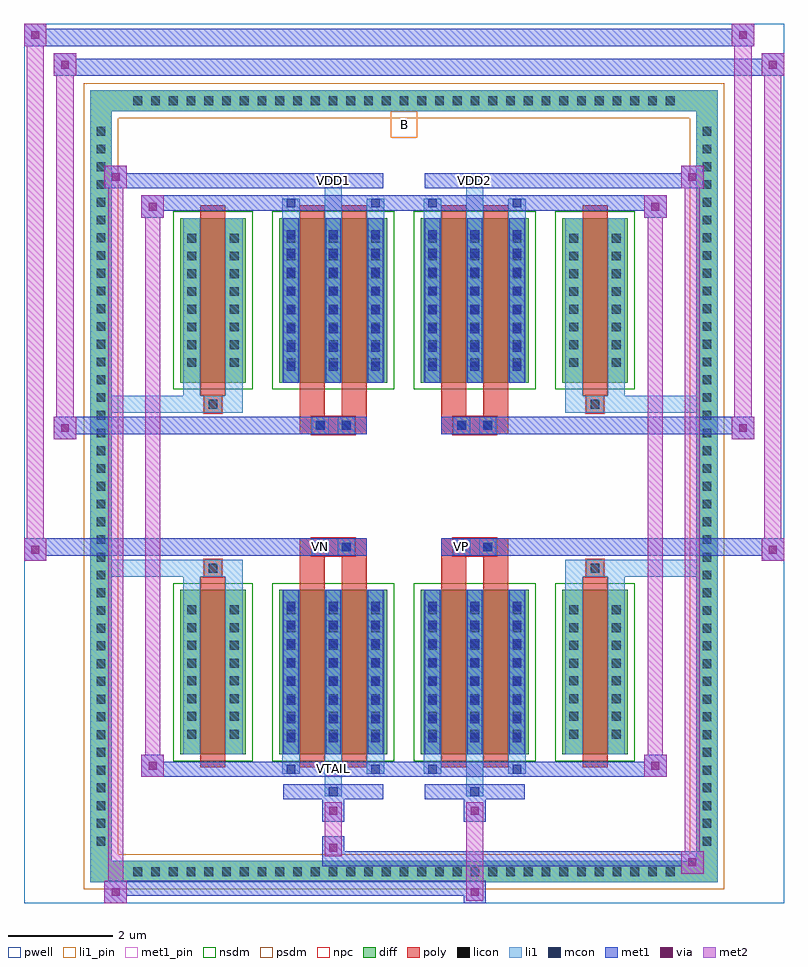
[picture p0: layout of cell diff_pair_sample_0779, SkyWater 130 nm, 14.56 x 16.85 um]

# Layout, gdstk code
import gdstk
lib = gdstk.Library(unit=1e-6, precision=5e-09)
def R(c, l, rs):  # rectangles x0, y0, x1, y1
    for r in rs: c.add(gdstk.rectangle(r[:2], r[2:], *l))
def A(c, l, x, y, w, h, nx, ny, dx, dy):  # array of equal rectangles
    R(c, l, [(x+i*dx, y+j*dy, x+i*dx+w, y+j*dy+h) for i in range(nx) for j in range(ny)])
def P(c, l, *ps):  # polygons
    for p in ps: c.add(gdstk.Polygon(p, *l))
pwell = (64, 44)
diff = (65, 20)
poly = (66, 20)
licon = (66, 44)
li1_pin = (67, 16)
li1 = (67, 20)
mcon = (67, 44)
met1_pin = (68, 16)
met1 = (68, 20)
via = (68, 44)
met2 = (69, 20)
nsdm = (93, 44)
psdm = (94, 20)
npc = (95, 20)

diff_pair_sample_0779 = lib.new_cell('diff_pair_sample_0779')
R(diff_pair_sample_0779, pwell, [(-7.28,-7.99,7.28,8.86), (-4.6,-6.18,-0.01,-0.8), (0.01,-6.18,4.6,-0.8), (-4.6,0.8,-0.01,6.18), (0.01,0.8,4.6,6.18)])
A(diff_pair_sample_0779, diff, -5.305, -7.59, 0.41, 0.41, 31, 2, 0.34, 14.77)
A(diff_pair_sample_0779, diff, -6.01, -7.005, 0.41, 0.41, 1, 41, 0, 0.34)
A(diff_pair_sample_0779, diff, 5.6, -7.005, 0.41, 0.41, 1, 41, 0, 0.34)
R(diff_pair_sample_0779, diff, [(-5.305,-7.59,5.305,-7.18), (-6.01,-7.005,-5.6,7.005), (5.6,-7.005,6.01,7.005), (-4.29,-5.135,-3.03,-1.985), (-2.39,-5.135,-0.32,-1.985), (0.32,-5.135,2.39,-1.985), (3.03,-5.135,4.29,-1.985), (-4.29,1.985,-3.03,5.135), (-2.39,1.985,-0.32,5.135), (0.32,1.985,2.39,5.135), (3.03,1.985,4.29,5.135), (-5.305,7.18,5.305,7.59)])
P(diff_pair_sample_0779, diff, [(6.01,7.59),(-6.01,7.59),(-6.01,-7.18),(-5.6,-7.18),(-5.6,7.18),(5.6,7.18),(5.6,-7.18),(-5.6,-7.18),(-6.01,-7.18),(-6.01,-7.59),(6.01,-7.59)])
R(diff_pair_sample_0779, poly, [(-3.9,-5.385,-3.42,-1.735), (-2,-5.385,-1.52,-1.735), (-1.19,-5.385,-0.71,-1.735), (0.71,-5.385,1.19,-1.735), (1.52,-5.385,2,-1.735), (3.42,-5.385,3.9,-1.735), (-3.825,-1.735,-3.495,-1.405), (-3.825,-1.735,-3.495,-1.405), (-2,-1.735,-1.52,-1.33), (-1.19,-1.735,-0.71,-1.33), (0.71,-1.735,1.19,-1.33), (1.52,-1.735,2,-1.33), (3.495,-1.735,3.825,-1.405), (3.495,-1.735,3.825,-1.405), (-2,-1.33,-0.71,-1), (-1.77,-1.33,-1.44,-1), (-1.27,-1.33,-0.94,-1), (0.71,-1.33,2,-1), (0.94,-1.33,1.27,-1), (1.44,-1.33,1.77,-1), (-2,1,-0.71,1.33), (-1.77,1,-1.44,1.33), (-1.27,1,-0.94,1.33), (0.71,1,2,1.33), (0.94,1,1.27,1.33), (1.44,1,1.77,1.33), (-2,1.33,-1.52,1.735), (-1.19,1.33,-0.71,1.735), (0.71,1.33,1.19,1.735), (1.52,1.33,2,1.735), (-3.825,1.405,-3.495,1.735), (-3.825,1.405,-3.495,1.735), (3.495,1.405,3.825,1.735), (3.495,1.405,3.825,1.735), (-3.9,1.735,-3.42,5.385), (-2,1.735,-1.52,5.385), (-1.19,1.735,-0.71,5.385), (0.71,1.735,1.19,5.385), (1.52,1.735,2,5.385), (3.42,1.735,3.9,5.385)])
A(diff_pair_sample_0779, licon, -5.185, -7.47, 0.17, 0.17, 31, 2, 0.34, 14.77)
A(diff_pair_sample_0779, licon, -5.89, -6.885, 0.17, 0.17, 1, 41, 0, 0.34)
A(diff_pair_sample_0779, licon, 5.72, -6.885, 0.17, 0.17, 1, 41, 0, 0.34)
A(diff_pair_sample_0779, licon, -4.15, -4.835, 0.17, 0.17, 1, 8, 0, 0.34)
A(diff_pair_sample_0779, licon, -3.34, -4.835, 0.17, 0.17, 1, 8, 0, 0.34)
A(diff_pair_sample_0779, licon, -2.25, -4.835, 0.17, 0.17, 3, 8, 0.81, 0.34)
A(diff_pair_sample_0779, licon, 0.46, -4.835, 0.17, 0.17, 3, 8, 0.81, 0.34)
A(diff_pair_sample_0779, licon, 3.17, -4.835, 0.17, 0.17, 1, 8, 0, 0.34)
A(diff_pair_sample_0779, licon, 3.98, -4.835, 0.17, 0.17, 1, 8, 0, 0.34)
A(diff_pair_sample_0779, licon, -4.15, 2.285, 0.17, 0.17, 1, 8, 0, 0.34)
A(diff_pair_sample_0779, licon, -3.34, 2.285, 0.17, 0.17, 1, 8, 0, 0.34)
A(diff_pair_sample_0779, licon, -2.25, 2.285, 0.17, 0.17, 3, 8, 0.81, 0.34)
A(diff_pair_sample_0779, licon, 0.46, 2.285, 0.17, 0.17, 3, 8, 0.81, 0.34)
A(diff_pair_sample_0779, licon, 3.17, 2.285, 0.17, 0.17, 1, 8, 0, 0.34)
A(diff_pair_sample_0779, licon, 3.98, 2.285, 0.17, 0.17, 1, 8, 0, 0.34)
R(diff_pair_sample_0779, licon, [(-3.745,-1.655,-3.575,-1.485), (3.575,-1.655,3.745,-1.485), (-1.69,-1.25,-1.52,-1.08), (-1.19,-1.25,-1.02,-1.08), (1.02,-1.25,1.19,-1.08), (1.52,-1.25,1.69,-1.08), (-1.69,1.08,-1.52,1.25), (-1.19,1.08,-1.02,1.25), (1.02,1.08,1.19,1.25), (1.52,1.08,1.69,1.25), (-3.745,1.485,-3.575,1.655), (3.575,1.485,3.745,1.655)])
R(diff_pair_sample_0779, li1_pin, [(-0.25,6.68,0.25,7.18)])
A(diff_pair_sample_0779, li1, -5.265, -7.55, 0.33, 0.33, 31, 2, 0.34, 14.77)
A(diff_pair_sample_0779, li1, -5.97, -6.965, 0.33, 0.33, 1, 41, 0, 0.34)
A(diff_pair_sample_0779, li1, 5.64, -6.965, 0.33, 0.33, 1, 41, 0, 0.34)
A(diff_pair_sample_0779, li1, -2.33, -5.135, 0.33, 3.15, 3, 2, 0.81, 7.12)
A(diff_pair_sample_0779, li1, 0.38, -5.135, 0.33, 3.15, 3, 2, 0.81, 7.12)
A(diff_pair_sample_0779, li1, -4.23, -4.915, 0.33, 0.33, 1, 8, 0, 0.34)
A(diff_pair_sample_0779, li1, -3.42, -4.915, 0.33, 0.33, 1, 8, 0, 0.34)
A(diff_pair_sample_0779, li1, -2.33, -4.915, 0.33, 0.33, 3, 8, 0.81, 0.34)
A(diff_pair_sample_0779, li1, 0.38, -4.915, 0.33, 0.33, 3, 8, 0.81, 0.34)
A(diff_pair_sample_0779, li1, 3.09, -4.915, 0.33, 0.33, 1, 8, 0, 0.34)
A(diff_pair_sample_0779, li1, 3.9, -4.915, 0.33, 0.33, 1, 8, 0, 0.34)
A(diff_pair_sample_0779, li1, -2.25, -4.905, 0.17, 0.17, 3, 8, 0.81, 0.36)
A(diff_pair_sample_0779, li1, -2.25, -4.905, 0.17, 2.69, 3, 2, 0.81, 7.12)
A(diff_pair_sample_0779, li1, 0.46, -4.905, 0.17, 0.17, 3, 8, 0.81, 0.36)
A(diff_pair_sample_0779, li1, 0.46, -4.905, 0.17, 2.69, 3, 2, 0.81, 7.12)
A(diff_pair_sample_0779, li1, -4.23, 2.205, 0.33, 0.33, 1, 8, 0, 0.34)
A(diff_pair_sample_0779, li1, -3.42, 2.205, 0.33, 0.33, 1, 8, 0, 0.34)
A(diff_pair_sample_0779, li1, -2.33, 2.205, 0.33, 0.33, 3, 8, 0.81, 0.34)
A(diff_pair_sample_0779, li1, 0.38, 2.205, 0.33, 0.33, 3, 8, 0.81, 0.34)
A(diff_pair_sample_0779, li1, 3.09, 2.205, 0.33, 0.33, 1, 8, 0, 0.34)
A(diff_pair_sample_0779, li1, 3.9, 2.205, 0.33, 0.33, 1, 8, 0, 0.34)
A(diff_pair_sample_0779, li1, -2.25, 2.215, 0.17, 0.17, 3, 8, 0.81, 0.36)
A(diff_pair_sample_0779, li1, 0.46, 2.215, 0.17, 0.17, 3, 8, 0.81, 0.36)
R(diff_pair_sample_0779, li1, [(-6.01,-7.59,-5.6,-7.18), (-6.01,-7.59,-5.6,-7.18), (-5.6,-7.59,5.6,-7.18), (5.6,-7.59,6.01,-7.18), (5.6,-7.59,6.01,-7.18), (-6.01,-7.18,-5.6,7.18), (5.6,-7.18,6.01,7.18), (-1.52,-5.94,-1.19,-5.135), (-1.44,-5.94,-1.27,-5.77), (1.19,-5.94,1.52,-5.135), (1.27,-5.94,1.44,-5.77), (-2.33,-5.51,-2,-5.135), (-2.25,-5.51,-2.08,-5.34), (-0.71,-5.51,-0.38,-5.135), (-0.63,-5.51,-0.46,-5.34), (0.38,-5.51,0.71,-5.135), (0.46,-5.51,0.63,-5.34), (2,-5.51,2.33,-5.135), (2.08,-5.51,2.25,-5.34), (-4.23,-5.135,-3.9,-1.985), (-3.42,-5.135,-3.09,-1.985), (3.09,-5.135,3.42,-1.985), (3.9,-5.135,4.23,-1.985), (-4.23,-1.985,-3.9,-1.405), (-3.42,-1.985,-3.09,-1.405), (3.09,-1.985,3.42,-1.405), (3.9,-1.985,4.23,-1.405), (-6.01,-1.735,-3.825,-1.405), (-4.23,-1.735,-3.825,-1.405), (-3.825,-1.735,-3.495,-1.405), (-3.495,-1.735,-3.09,-1.405), (3.09,-1.735,3.495,-1.405), (3.495,-1.735,3.825,-1.405), (3.495,-1.735,6.01,-1.405), (3.825,-1.735,4.23,-1.405), (-1.77,-1.33,-1.44,-1), (-1.27,-1.33,-0.94,-1), (0.94,-1.33,1.27,-1), (1.44,-1.33,1.77,-1), (-1.77,1,-1.44,1.33), (-1.27,1,-0.94,1.33), (0.94,1,1.27,1.33), (1.44,1,1.77,1.33), (-6.01,1.405,-3.825,1.735), (-4.23,1.405,-3.825,1.735), (-4.23,1.405,-3.9,1.985), (-3.825,1.405,-3.495,1.735), (-3.495,1.405,-3.09,1.735), (-3.42,1.405,-3.09,1.985), (3.09,1.405,3.495,1.735), (3.09,1.405,3.42,1.985), (3.495,1.405,3.825,1.735), (3.495,1.405,6.01,1.735), (3.825,1.405,4.23,1.735), (3.9,1.405,4.23,1.985), (-4.23,1.985,-3.9,5.135), (-3.42,1.985,-3.09,5.135), (3.09,1.985,3.42,5.135), (3.9,1.985,4.23,5.135), (-2.33,5.135,-2,5.51), (-1.52,5.135,-1.19,5.94), (-0.71,5.135,-0.38,5.51), (0.38,5.135,0.71,5.51), (1.19,5.135,1.52,5.94), (2,5.135,2.33,5.51), (-2.25,5.34,-2.08,5.51), (-0.63,5.34,-0.46,5.51), (0.46,5.34,0.63,5.51), (2.08,5.34,2.25,5.51), (-1.44,5.77,-1.27,5.94), (1.27,5.77,1.44,5.94), (-6.01,7.18,-5.6,7.59), (-6.01,7.18,-5.6,7.59), (-5.6,7.18,5.6,7.59), (5.6,7.18,6.01,7.59), (5.6,7.18,6.01,7.59)])
A(diff_pair_sample_0779, mcon, -2.25, -4.905, 0.17, 0.17, 3, 8, 0.81, 0.36)
A(diff_pair_sample_0779, mcon, 0.46, -4.905, 0.17, 0.17, 3, 8, 0.81, 0.36)
A(diff_pair_sample_0779, mcon, -2.25, 2.215, 0.17, 0.17, 3, 8, 0.81, 0.36)
A(diff_pair_sample_0779, mcon, 0.46, 2.215, 0.17, 0.17, 3, 8, 0.81, 0.36)
R(diff_pair_sample_0779, mcon, [(-1.44,-5.94,-1.27,-5.77), (1.27,-5.94,1.44,-5.77), (-2.25,-5.51,-2.08,-5.34), (-0.63,-5.51,-0.46,-5.34), (0.46,-5.51,0.63,-5.34), (2.08,-5.51,2.25,-5.34), (-1.69,-1.25,-1.52,-1.08), (-1.19,-1.25,-1.02,-1.08), (1.02,-1.25,1.19,-1.08), (1.52,-1.25,1.69,-1.08), (-1.69,1.08,-1.52,1.25), (-1.19,1.08,-1.02,1.25), (1.02,1.08,1.19,1.25), (1.52,1.08,1.69,1.25), (-2.25,5.34,-2.08,5.51), (-0.63,5.34,-0.46,5.51), (0.46,5.34,0.63,5.51), (2.08,5.34,2.25,5.51), (-1.44,5.77,-1.27,5.94), (1.27,5.77,1.44,5.94)])
R(diff_pair_sample_0779, met1_pin, [(-1.49,-5.55,-1.22,-5.28), (-1.74,-1.29,-1.47,-1.02), (0.97,-1.29,1.24,-1.02), (-1.49,5.73,-1.22,6), (1.22,5.73,1.49,6)])
A(diff_pair_sample_0779, met1, -2.31, -5.135, 0.29, 3.15, 3, 2, 0.81, 7.12)
A(diff_pair_sample_0779, met1, 0.4, -5.135, 0.29, 3.15, 3, 2, 0.81, 7.12)
A(diff_pair_sample_0779, met1, -2.31, -4.965, 0.29, 0.29, 3, 8, 0.81, 0.36)
A(diff_pair_sample_0779, met1, 0.4, -4.965, 0.29, 0.29, 3, 8, 0.81, 0.36)
A(diff_pair_sample_0779, met1, -2.31, 2.155, 0.29, 0.29, 3, 8, 0.81, 0.36)
A(diff_pair_sample_0779, met1, 0.4, 2.155, 0.29, 0.29, 3, 8, 0.81, 0.36)
R(diff_pair_sample_0779, met1, [(-5.74,-7.99,-5.31,-7.56), (1.14,-7.99,1.57,-7.56), (-5.74,-7.85,1.57,-7.56), (5.31,-7.42,5.74,-6.99), (-1.57,-7.28,5.74,-6.99), (-1.57,-7.14,-1.14,-6.71), (-1.57,-6.43,-1.14,-6), (1.14,-6.43,1.57,-6), (-2.31,-6,-0.4,-5.71), (-1.5,-6,-1.21,-5.71), (0.4,-6,2.31,-5.71), (1.21,-6,1.5,-5.71), (-5.03,-5.57,-4.6,-5.14), (-5.03,-5.57,-2.31,-5.28), (-2.31,-5.57,-2.02,-5.28), (-2.31,-5.57,-0.4,-5.28), (-0.69,-5.57,-0.4,-5.28), (-0.4,-5.57,0.4,-5.28), (0.4,-5.57,0.69,-5.28), (0.4,-5.57,2.31,-5.28), (2.02,-5.57,2.31,-5.28), (2.31,-5.57,5.03,-5.28), (4.6,-5.57,5.03,-5.14), (-7.28,-1.43,-6.85,-1), (6.85,-1.43,7.28,-1), (-7.28,-1.33,-0.71,-1), (-2,-1.33,-0.71,-1), (0.71,-1.33,2,-1), (0.71,-1.33,7.28,-1), (-1.75,-1.31,-1.46,-1.02), (-1.25,-1.31,-0.96,-1.02), (0.96,-1.31,1.25,-1.02), (1.46,-1.31,1.75,-1.02), (-6.71,0.9,-6.28,1.33), (6.28,0.9,6.71,1.33), (-6.71,1,-2,1.33), (-2,1,-0.71,1.33), (0.71,1,2,1.33), (2,1,6.71,1.33), (-1.75,1.02,-1.46,1.31), (-1.25,1.02,-0.96,1.31), (0.96,1.02,1.25,1.31), (1.46,1.02,1.75,1.31), (-5.03,5.14,-4.6,5.57), (4.6,5.14,5.03,5.57), (-5.03,5.28,-2.31,5.57), (-2.31,5.28,-2.02,5.57), (-2.31,5.28,-0.4,5.57), (-0.69,5.28,-0.4,5.57), (-0.4,5.28,0.4,5.57), (0.4,5.28,0.69,5.57), (0.4,5.28,2.31,5.57), (2.02,5.28,2.31,5.57), (2.31,5.28,5.03,5.57), (-5.74,5.71,-5.31,6.14), (-5.74,5.71,-2.31,6), (-2.31,5.71,-0.4,6), (-1.5,5.71,-1.21,6), (0.4,5.71,2.31,6), (1.21,5.71,1.5,6), (2.31,5.71,5.74,6), (5.31,5.71,5.74,6.14), (-6.71,7.86,-6.28,8.29), (-6.71,7.86,-4.6,8.19), (-4.6,7.86,4.6,8.19), (4.6,7.86,7.28,8.19), (6.85,7.86,7.28,8.29), (-7.28,8.43,-6.85,8.86), (-7.28,8.43,-4.6,8.76), (-4.6,8.43,4.6,8.76), (4.6,8.43,6.71,8.76), (6.28,8.43,6.71,8.86)])
R(diff_pair_sample_0779, via, [(-5.6,-7.85,-5.45,-7.7), (1.28,-7.85,1.43,-7.7), (5.45,-7.28,5.6,-7.13), (-1.43,-7,-1.28,-6.85), (-1.43,-6.29,-1.28,-6.14), (1.28,-6.29,1.43,-6.14), (-4.89,-5.43,-4.74,-5.28), (4.74,-5.43,4.89,-5.28), (-7.14,-1.29,-6.99,-1.14), (6.99,-1.29,7.14,-1.14), (-6.57,1.04,-6.42,1.19), (6.42,1.04,6.57,1.19), (-4.89,5.28,-4.74,5.43), (4.74,5.28,4.89,5.43), (-5.6,5.85,-5.45,6), (5.45,5.85,5.6,6), (-6.57,8,-6.42,8.15), (6.99,8,7.14,8.15), (-7.14,8.57,-6.99,8.72), (6.42,8.57,6.57,8.72)])
R(diff_pair_sample_0779, met2, [(-5.74,-7.99,-5.31,-7.56), (-5.67,-7.99,-5.38,6.14), (-5.38,-7.99,-5.31,-7.56), (-5.69,-7.94,-5.36,-7.61), (1.19,-7.94,1.52,-7.61), (1.19,-7.61,1.52,-6.38), (5.31,-7.42,5.74,-6.99), (5.38,-7.42,5.67,6.14), (5.67,-7.42,5.74,-6.99), (5.36,-7.37,5.69,-7.04), (-1.52,-7.09,-1.19,-6.76), (-1.52,-6.76,-1.19,-6.38), (-1.52,-6.38,-1.19,-6.05), (1.19,-6.38,1.52,-6.05), (-5.03,-5.57,-4.6,-5.14), (-4.96,-5.57,-4.67,5.57), (-4.67,-5.57,-4.6,-5.14), (4.6,-5.57,5.03,-5.14), (4.67,-5.57,4.96,5.57), (4.96,-5.57,5.03,-5.14), (-4.98,-5.52,-4.65,-5.19), (4.65,-5.52,4.98,-5.19), (-7.28,-1.43,-6.85,-1), (-7.23,-1.43,-6.9,8.86), (-6.9,-1.43,-6.85,-1), (6.85,-1.43,7.28,-1), (6.9,-1.43,7.23,8.29), (7.23,-1.43,7.28,-1), (-7.23,-1.38,-6.9,-1.05), (6.9,-1.38,7.23,-1.05), (-6.71,0.9,-6.28,1.33), (-6.66,0.9,-6.33,8.29), (-6.33,0.9,-6.28,1.33), (6.28,0.9,6.71,1.33), (6.33,0.9,6.66,8.86), (6.66,0.9,6.71,1.33), (-6.66,0.95,-6.33,1.28), (6.33,0.95,6.66,1.28), (-5.03,5.14,-4.6,5.57), (-4.67,5.14,-4.6,5.57), (4.6,5.14,5.03,5.57), (4.96,5.14,5.03,5.57), (-4.98,5.19,-4.65,5.52), (4.65,5.19,4.98,5.52), (-5.74,5.71,-5.31,6.14), (-5.38,5.71,-5.31,6.14), (5.31,5.71,5.74,6.14), (5.67,5.71,5.74,6.14), (-5.69,5.76,-5.36,6.09), (5.36,5.76,5.69,6.09), (-6.71,7.86,-6.28,8.29), (-6.33,7.86,-6.28,8.29), (6.85,7.86,7.28,8.29), (7.23,7.86,7.28,8.29), (-6.66,7.91,-6.33,8.24), (6.9,7.91,7.23,8.24), (-7.28,8.43,-6.85,8.86), (-6.9,8.43,-6.85,8.86), (6.28,8.43,6.71,8.86), (6.66,8.43,6.71,8.86), (-7.23,8.48,-6.9,8.81), (6.33,8.48,6.66,8.81)])
R(diff_pair_sample_0779, nsdm, [(-4.42,-5.265,-2.9,-1.855), (-2.52,-5.265,-0.19,-1.855), (0.19,-5.265,2.52,-1.855), (2.9,-5.265,4.42,-1.855), (-4.42,1.855,-2.9,5.265), (-2.52,1.855,-0.19,5.265), (0.19,1.855,2.52,5.265), (2.9,1.855,4.42,5.265)])
P(diff_pair_sample_0779, psdm, [(6.14,7.72),(-6.14,7.72),(-6.14,-7.05),(-5.47,-7.05),(-5.47,7.05),(5.47,7.05),(5.47,-7.05),(-5.47,-7.05),(-6.14,-7.05),(-6.14,-7.72),(6.14,-7.72)])
R(diff_pair_sample_0779, npc, [(-3.845,-1.755,-3.475,-1.385), (3.475,-1.755,3.845,-1.385), (-1.79,-1.35,-1.42,-0.98), (-1.79,-1.35,-0.92,-0.98), (-1.79,-1.35,-0.92,-0.98), (-1.29,-1.35,-0.92,-0.98), (0.92,-1.35,1.29,-0.98), (0.92,-1.35,1.79,-0.98), (0.92,-1.35,1.79,-0.98), (1.42,-1.35,1.79,-0.98), (-1.79,0.98,-1.42,1.35), (-1.79,0.98,-0.92,1.35), (-1.79,0.98,-0.92,1.35), (-1.29,0.98,-0.92,1.35), (0.92,0.98,1.29,1.35), (0.92,0.98,1.79,1.35), (0.92,0.98,1.79,1.35), (1.42,0.98,1.79,1.35), (-3.845,1.385,-3.475,1.755), (3.475,1.385,3.845,1.755)])
diff_pair_sample_0779.add(gdstk.Label('VTAIL', (-1.355,-5.415), layer=68, texttype=5))
diff_pair_sample_0779.add(gdstk.Label('VN', (-1.605,-1.155), layer=68, texttype=5))
diff_pair_sample_0779.add(gdstk.Label('VP', (1.105,-1.155), layer=68, texttype=5))
diff_pair_sample_0779.add(gdstk.Label('B', (0,6.93), layer=67, texttype=5))
diff_pair_sample_0779.add(gdstk.Label('VDD2', (1.355,5.865), layer=68, texttype=5))
diff_pair_sample_0779.add(gdstk.Label('VDD1', (-1.355,5.865), layer=68, texttype=5))

lib.write_gds('diff_pair_sample_0779.gds')
